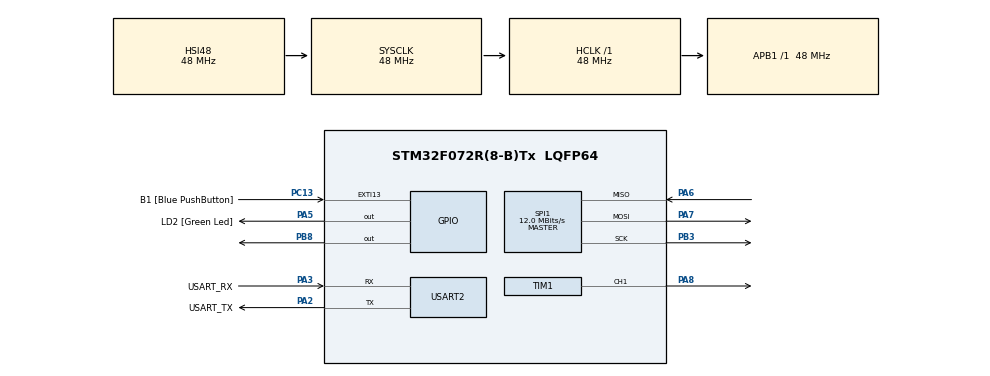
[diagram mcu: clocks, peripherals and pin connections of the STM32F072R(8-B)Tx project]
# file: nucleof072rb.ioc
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Mcu.Family=STM32F0
Mcu.Name=STM32F072R(8-B)Tx
Mcu.Package=LQFP64
PA13.GPIO_Label=TMS
PA13.Mode=Serial_Wire
PA13.Signal=SYS_SWDIO
PA14.GPIO_Label=TCK
PA14.Mode=Serial_Wire
PA14.Signal=SYS_SWCLK
PA2.GPIO_Label=USART_TX
PA2.GPIO_Mode=GPIO_MODE_AF_PP
PA2.GPIO_PuPd=GPIO_NOPULL
PA2.GPIO_Speed=GPIO_SPEED_FREQ_LOW
PA2.Mode=Asynchronous
PA2.Signal=USART2_TX
PA3.GPIO_Label=USART_RX
PA3.GPIO_Mode=GPIO_MODE_AF_PP
PA3.GPIO_PuPd=GPIO_NOPULL
PA3.GPIO_Speed=GPIO_SPEED_FREQ_LOW
PA3.Mode=Asynchronous
PA3.Signal=USART2_RX
PA5.GPIO_Label=LD2 [Green Led]
PA5.GPIO_Mode=GPIO_MODE_OUTPUT_PP
PA5.GPIO_PuPd=GPIO_NOPULL
PA5.GPIO_Speed=GPIO_SPEED_FREQ_LOW
PA5.Signal=GPIO_Output
PA6.Mode=Full_Duplex_Master
PA6.Signal=SPI1_MISO
PA7.Mode=Full_Duplex_Master
PA7.Signal=SPI1_MOSI
PA8.Signal=S_TIM1_CH1
PB3.Mode=Full_Duplex_Master
PB3.Signal=SPI1_SCK
PB8.Signal=GPIO_Output
PC13.GPIO_Label=B1 [Blue PushButton]
PC13.GPIO_ModeDefaultEXTI=GPIO_MODE_IT_FALLING
PC13.Signal=GPXTI13
PC14-OSC32_IN.Mode=LSE-External-Oscillator
PC14-OSC32_IN.Signal=RCC_OSC32_IN
PC15-OSC32_OUT.Mode=LSE-External-Oscillator
PC15-OSC32_OUT.Signal=RCC_OSC32_OUT
PF0-OSC_IN.Mode=HSE-External-Clock-Source
PF0-OSC_IN.Signal=RCC_OSC_IN
PF1-OSC_OUT.Signal=RCC_OSC_OUT
ProjectManager.HeapSize=0x200
ProjectManager.StackSize=0x400
ProjectManager.TargetToolchain=STM32CubeIDE
RCC.AHBFreq_Value=48000000
RCC.APB1Freq_Value=48000000
RCC.APB1TimFreq_Value=48000000
RCC.FLatency-AdvancedSettings=FLASH_LATENCY_1
RCC.HCLKFreq_Value=48000000
RCC.PLLDivider=RCC_PREDIV_DIV2
RCC.PLLMUL=RCC_PLL_MUL12
RCC.PREFETCH_ENABLE-AdvancedSettings=1
RCC.SYSCLKFreq_VALUE=48000000
RCC.SYSCLKSource=RCC_SYSCLKSOURCE_HSI48
SH.S_TIM1_CH1.0=TIM1_CH1,PWM Generation1 CH1
SPI1.BaudRatePrescaler=SPI_BAUDRATEPRESCALER_4
SPI1.CalculateBaudRate=12.0 MBits/s
SPI1.Direction=SPI_DIRECTION_2LINES
SPI1.Mode=SPI_MODE_MASTER
SPI1.VirtualType=VM_MASTER
TIM1.Channel-PWM\ Generation1\ CH1=TIM_CHANNEL_1
TIM1.Period=64000
TIM1.Prescaler=14
USART2.VirtualMode=VM_ASYNC
USART2.VirtualMode-Asynchronous=VM_ASYNC
VP_TIM1_VS_ClockSourceINT.Mode=Internal
board=NUCLEO-F072RB

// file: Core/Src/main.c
/* USER CODE BEGIN Header */
/**
  ******************************************************************************
  * @file           : main.c
  * @brief          : Main program body
  ******************************************************************************
  * @attention
  *
  * <h2><center>&copy; Copyright (c) 2021 STMicroelectronics.
  * All rights reserved.</center></h2>
  *
  * This software component is licensed by ST under BSD 3-Clause license,
  * the "License"; You may not use this file except in compliance with the
  * License. You may obtain a copy of the License at:
  *                        opensource.org/licenses/BSD-3-Clause
  *
  ******************************************************************************
  */
/* USER CODE END Header */
#include "main.h"
#include "spi.h"
#include "tim.h"
#include "usart.h"
#include "gpio.h"

/* USER CODE BEGIN PD */
#define ADC_BYTE_SIZE 3
#define ADC_MAX 1023 //10 bits
#define MIN_DUTY_CYCLE 3200 //5% duty cycle
#define MAX_DUTY_CYCLE 6400 //10% duty cycle

/* USER CODE END PD */

/* USER CODE BEGIN PV */
extern SPI_HandleTypeDef hspi1;
/* USER CODE END PV */

void SystemClock_Config(void);
static uint16_t Read_ADC(void);
/* USER CODE BEGIN PFP */

uint16_t Read_ADC(void)
{
	//pulling cs low
	HAL_GPIO_WritePin(GPIOB, GPIO_PIN_6, GPIO_PIN_RESET);

	//reading the bits: 0x01 - start bit, 0x80 - CH0, 0x00 - dummy bit
	uint8_t tx_buffer[ADC_BYTE_SIZE] = {0x01,0x80,0x00};
	uint8_t rx_buffer[ADC_BYTE_SIZE] ={0};

	//trasmits from tx_buffer and receives to rx_buffer
	HAL_SPI_TransmitReceive(&hspi1, tx_buffer, rx_buffer, ADC_BYTE_SIZE, 10);
	HAL_GPIO_WritePin(GPIOB, GPIO_PIN_6, GPIO_PIN_SET);

	//returning the extracted data
	uint16_t data_high = rx_buffer[1] & 0x03;
	uint16_t data_low = rx_buffer[2];

	int data = (data_high << 8) | data_low;
	return data;
}
/* USER CODE END PFP */

int main(void)
{

  /* MCU Configuration--------------------------------------------------------*/

  /* Reset of all peripherals, Initializes the Flash interface and the Systick. */
  HAL_Init();

  /* Configure the system clock */
  SystemClock_Config();

  /* Initialize all configured peripherals */
  MX_GPIO_Init();
  MX_USART2_UART_Init();
  MX_SPI1_Init();
  MX_TIM1_Init();
  /* USER CODE BEGIN 2 */
  HAL_TIM_PWM_Start(&htim1, TIM_CHANNEL_1);

  /* USER CODE END 2 */

  /* Infinite loop */
  /* USER CODE BEGIN WHILE */
  while (1)
  {
	  //start ADC conversation
	  uint16_t ADC_Value = Read_ADC();

	  //ADC data to PWM duty cycle
	  uint16_t PWM_Pulse = MIN_DUTY_CYCLE + ((ADC_Value * (MAX_DUTY_CYCLE - MIN_DUTY_CYCLE) / ADC_MAX));

	  __HAL_TIM_SET_COMPARE(&htim1, TIM_CHANNEL_1, PWM_Pulse);
	  HAL_Delay(10);
    /* USER CODE END WHILE */

  }
}

void SystemClock_Config(void)
{
  RCC_OscInitTypeDef RCC_OscInitStruct = {0};
  RCC_ClkInitTypeDef RCC_ClkInitStruct = {0};
  RCC_PeriphCLKInitTypeDef PeriphClkInit = {0};

  /** Initializes the RCC Oscillators according to the specified parameters
  * in the RCC_OscInitTypeDef structure.
  */
  RCC_OscInitStruct.OscillatorType = RCC_OSCILLATORTYPE_HSI48;
  RCC_OscInitStruct.HSI48State = RCC_HSI48_ON;
  RCC_OscInitStruct.PLL.PLLState = RCC_PLL_NONE;
  if (HAL_RCC_OscConfig(&RCC_OscInitStruct) != HAL_OK)
  {
    Error_Handler();
  }

  /** Initializes the CPU, AHB and APB buses clocks
  */
  RCC_ClkInitStruct.ClockType = RCC_CLOCKTYPE_HCLK|RCC_CLOCKTYPE_SYSCLK
                              |RCC_CLOCKTYPE_PCLK1;
  RCC_ClkInitStruct.SYSCLKSource = RCC_SYSCLKSOURCE_HSI48;
  RCC_ClkInitStruct.AHBCLKDivider = RCC_SYSCLK_DIV1;
  RCC_ClkInitStruct.APB1CLKDivider = RCC_HCLK_DIV1;

  if (HAL_RCC_ClockConfig(&RCC_ClkInitStruct, FLASH_LATENCY_1) != HAL_OK)
  {
    Error_Handler();
  }
  PeriphClkInit.PeriphClockSelection = RCC_PERIPHCLK_USART2;
  PeriphClkInit.Usart2ClockSelection = RCC_USART2CLKSOURCE_PCLK1;
  if (HAL_RCCEx_PeriphCLKConfig(&PeriphClkInit) != HAL_OK)
  {
    Error_Handler();
  }
}

void Error_Handler(void)
{
  __disable_irq();
  while (1)
  {
  }
}
